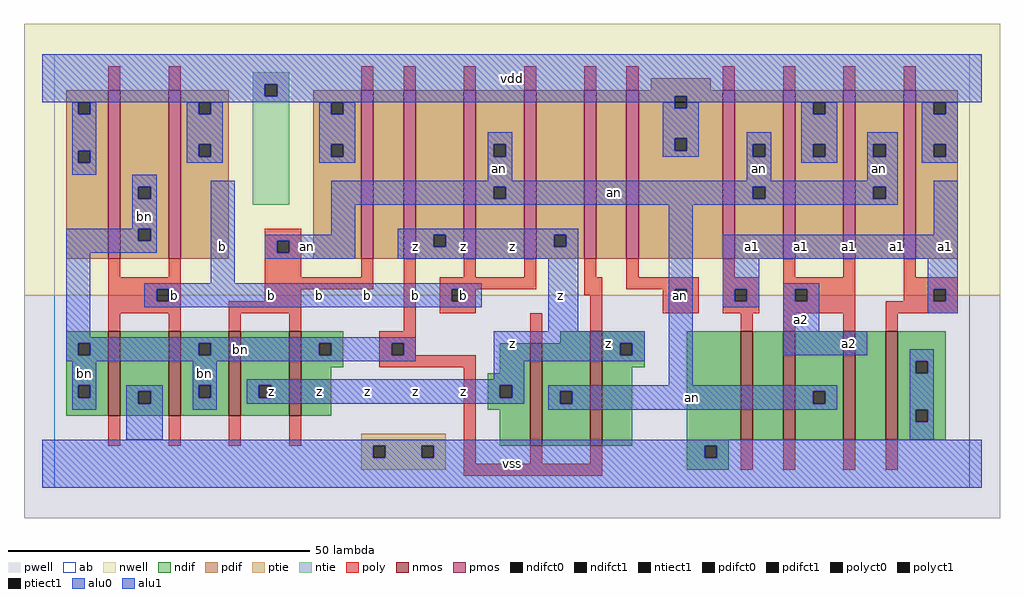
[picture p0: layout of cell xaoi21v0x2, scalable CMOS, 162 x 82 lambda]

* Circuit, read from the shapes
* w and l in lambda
.subckt xaoi21v0x2 a1 a2 an b bn vdd vss z
M1 vss b bn vss nfet w=14 l=2 m=2
M2 z an bn vss nfet w=14 l=2 m=2
M3 an bn z vss nfet w=17 l=2
M4 z bn an vss nfet w=19 l=2
M5 n1 a1 vss vss nfet w=18 l=2
M6 an a2 n1 vss nfet w=18 l=2
M7 n2 a2 an vss nfet w=18 l=2
M8 vss a1 n2 vss nfet w=18 l=2
M9 bn b vdd vdd pfet w=28 l=2 m=2
M10 n3 an vdd vdd pfet w=28 l=2
M11 z bn n3 vdd pfet w=28 l=2
M12 an b z vdd pfet w=28 l=2 m=2
M13 n4 bn z vdd pfet w=28 l=2
M14 vdd an n4 vdd pfet w=28 l=2
M15 an a1 vdd vdd pfet w=28 l=2 m=2
M16 vdd a2 an vdd pfet w=28 l=2 m=2
.ends

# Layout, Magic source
magic
tech scmos
<< ab >>
rect 0 0 152 72
<< nwell >>
rect -5 32 157 77
<< pwell >>
rect -5 -5 157 32
<< poly >>
rect 9 66 11 70
rect 19 66 21 70
rect 51 66 53 70
rect 58 66 60 70
rect 68 66 70 70
rect 78 66 80 70
rect 88 66 90 70
rect 95 66 97 70
rect 111 66 113 70
rect 121 66 123 70
rect 131 66 133 70
rect 141 66 143 70
rect 35 41 41 43
rect 35 39 37 41
rect 39 39 41 41
rect 9 35 11 38
rect 19 35 21 38
rect 9 33 21 35
rect 9 31 17 33
rect 19 31 21 33
rect 35 35 41 39
rect 51 35 53 38
rect 35 33 53 35
rect 35 31 41 33
rect 9 29 21 31
rect 9 26 11 29
rect 19 26 21 29
rect 29 29 41 31
rect 29 26 31 29
rect 39 26 41 29
rect 58 26 60 38
rect 68 35 70 38
rect 78 35 80 38
rect 64 33 80 35
rect 88 35 90 38
rect 95 35 97 38
rect 111 35 113 38
rect 121 35 123 38
rect 131 35 133 38
rect 64 31 66 33
rect 68 31 70 33
rect 88 32 91 35
rect 95 33 107 35
rect 64 29 70 31
rect 54 24 60 26
rect 79 24 81 29
rect 89 26 91 32
rect 101 31 103 33
rect 105 31 107 33
rect 101 29 107 31
rect 111 33 117 35
rect 111 31 113 33
rect 115 31 117 33
rect 111 29 117 31
rect 121 33 133 35
rect 121 31 123 33
rect 125 31 133 33
rect 141 35 143 38
rect 141 33 150 35
rect 141 31 146 33
rect 148 31 150 33
rect 121 29 133 31
rect 114 26 116 29
rect 121 26 123 29
rect 131 26 133 29
rect 138 29 150 31
rect 138 26 140 29
rect 54 22 56 24
rect 58 22 60 24
rect 54 20 70 22
rect 9 7 11 12
rect 19 7 21 12
rect 29 7 31 12
rect 39 7 41 12
rect 68 4 70 20
rect 79 4 81 7
rect 89 4 91 7
rect 68 2 91 4
rect 114 3 116 8
rect 121 3 123 8
rect 131 3 133 8
rect 138 3 140 8
<< ndif >>
rect 2 24 9 26
rect 2 22 4 24
rect 6 22 9 24
rect 2 17 9 22
rect 2 15 4 17
rect 6 15 9 17
rect 2 12 9 15
rect 11 16 19 26
rect 11 14 14 16
rect 16 14 19 16
rect 11 12 19 14
rect 21 24 29 26
rect 21 22 24 24
rect 26 22 29 24
rect 21 17 29 22
rect 21 15 24 17
rect 26 15 29 17
rect 21 12 29 15
rect 31 17 39 26
rect 31 15 34 17
rect 36 15 39 17
rect 31 12 39 15
rect 41 24 48 26
rect 41 22 44 24
rect 46 22 48 24
rect 41 20 48 22
rect 84 24 89 26
rect 41 12 46 20
rect 74 19 79 24
rect 72 17 79 19
rect 72 15 74 17
rect 76 15 79 17
rect 72 13 79 15
rect 74 7 79 13
rect 81 16 89 24
rect 81 14 84 16
rect 86 14 89 16
rect 81 7 89 14
rect 91 24 98 26
rect 91 22 94 24
rect 96 22 98 24
rect 91 20 98 22
rect 91 7 96 20
rect 105 8 114 26
rect 116 8 121 26
rect 123 16 131 26
rect 123 14 126 16
rect 128 14 131 16
rect 123 8 131 14
rect 133 8 138 26
rect 140 21 148 26
rect 140 19 143 21
rect 145 19 148 21
rect 140 13 148 19
rect 140 11 143 13
rect 145 11 148 13
rect 140 8 148 11
rect 105 7 112 8
rect 105 5 108 7
rect 110 5 112 7
rect 105 3 112 5
<< pdif >>
rect 2 64 9 66
rect 2 62 4 64
rect 6 62 9 64
rect 2 56 9 62
rect 2 54 4 56
rect 6 54 9 56
rect 2 38 9 54
rect 11 50 19 66
rect 11 48 14 50
rect 16 48 19 50
rect 11 43 19 48
rect 11 41 14 43
rect 16 41 19 43
rect 11 38 19 41
rect 21 64 29 66
rect 21 62 24 64
rect 26 62 29 64
rect 21 57 29 62
rect 21 55 24 57
rect 26 55 29 57
rect 21 38 29 55
rect 99 66 109 68
rect 43 64 51 66
rect 43 62 46 64
rect 48 62 51 64
rect 43 57 51 62
rect 43 55 46 57
rect 48 55 51 57
rect 43 38 51 55
rect 53 38 58 66
rect 60 42 68 66
rect 60 40 63 42
rect 65 40 68 42
rect 60 38 68 40
rect 70 57 78 66
rect 70 55 73 57
rect 75 55 78 57
rect 70 50 78 55
rect 70 48 73 50
rect 75 48 78 50
rect 70 38 78 48
rect 80 42 88 66
rect 80 40 83 42
rect 85 40 88 42
rect 80 38 88 40
rect 90 38 95 66
rect 97 65 111 66
rect 97 63 103 65
rect 105 63 111 65
rect 97 58 111 63
rect 97 56 103 58
rect 105 56 111 58
rect 97 38 111 56
rect 113 57 121 66
rect 113 55 116 57
rect 118 55 121 57
rect 113 50 121 55
rect 113 48 116 50
rect 118 48 121 50
rect 113 38 121 48
rect 123 64 131 66
rect 123 62 126 64
rect 128 62 131 64
rect 123 57 131 62
rect 123 55 126 57
rect 128 55 131 57
rect 123 38 131 55
rect 133 57 141 66
rect 133 55 136 57
rect 138 55 141 57
rect 133 50 141 55
rect 133 48 136 50
rect 138 48 141 50
rect 133 38 141 48
rect 143 64 150 66
rect 143 62 146 64
rect 148 62 150 64
rect 143 57 150 62
rect 143 55 146 57
rect 148 55 150 57
rect 143 38 150 55
<< alu1 >>
rect -2 67 154 72
rect -2 65 35 67
rect 37 65 154 67
rect -2 64 103 65
rect 105 64 154 65
rect 26 34 30 51
rect 57 42 87 43
rect 57 40 63 42
rect 65 40 83 42
rect 85 40 87 42
rect 57 38 87 40
rect 15 33 71 34
rect 15 31 17 33
rect 19 31 66 33
rect 68 31 71 33
rect 15 30 71 31
rect 82 26 87 38
rect 146 42 150 51
rect 73 24 98 26
rect 73 22 94 24
rect 96 22 98 24
rect 73 21 98 22
rect 73 18 78 21
rect 32 17 78 18
rect 111 38 150 42
rect 111 33 117 38
rect 111 31 113 33
rect 115 31 117 33
rect 111 30 117 31
rect 121 33 127 34
rect 121 31 123 33
rect 125 31 127 33
rect 121 26 127 31
rect 145 33 150 38
rect 145 31 146 33
rect 148 31 150 33
rect 145 29 150 31
rect 121 22 135 26
rect 32 15 34 17
rect 36 15 74 17
rect 76 15 78 17
rect 32 14 78 15
rect -2 7 154 8
rect -2 5 53 7
rect 55 5 61 7
rect 63 5 108 7
rect 110 5 154 7
rect -2 0 154 5
<< ptie >>
rect 51 7 65 9
rect 51 5 53 7
rect 55 5 61 7
rect 63 5 65 7
rect 51 3 65 5
<< ntie >>
rect 33 67 39 69
rect 33 65 35 67
rect 37 65 39 67
rect 33 47 39 65
<< nmos >>
rect 9 12 11 26
rect 19 12 21 26
rect 29 12 31 26
rect 39 12 41 26
rect 79 7 81 24
rect 89 7 91 26
rect 114 8 116 26
rect 121 8 123 26
rect 131 8 133 26
rect 138 8 140 26
<< pmos >>
rect 9 38 11 66
rect 19 38 21 66
rect 51 38 53 66
rect 58 38 60 66
rect 68 38 70 66
rect 78 38 80 66
rect 88 38 90 66
rect 95 38 97 66
rect 111 38 113 66
rect 121 38 123 66
rect 131 38 133 66
rect 141 38 143 66
<< polyct0 >>
rect 37 39 39 41
rect 103 31 105 33
rect 56 22 58 24
<< polyct1 >>
rect 17 31 19 33
rect 66 31 68 33
rect 113 31 115 33
rect 123 31 125 33
rect 146 31 148 33
<< ndifct0 >>
rect 4 22 6 24
rect 4 15 6 17
rect 14 14 16 16
rect 24 22 26 24
rect 24 15 26 17
rect 44 22 46 24
rect 84 14 86 16
rect 126 14 128 16
rect 143 19 145 21
rect 143 11 145 13
<< ndifct1 >>
rect 34 15 36 17
rect 74 15 76 17
rect 94 22 96 24
rect 108 5 110 7
<< ntiect1 >>
rect 35 65 37 67
<< ptiect1 >>
rect 53 5 55 7
rect 61 5 63 7
<< pdifct0 >>
rect 4 62 6 64
rect 4 54 6 56
rect 14 48 16 50
rect 14 41 16 43
rect 24 62 26 64
rect 24 55 26 57
rect 46 62 48 64
rect 46 55 48 57
rect 73 55 75 57
rect 73 48 75 50
rect 103 63 105 64
rect 103 56 105 58
rect 116 55 118 57
rect 116 48 118 50
rect 126 62 128 64
rect 126 55 128 57
rect 136 55 138 57
rect 136 48 138 50
rect 146 62 148 64
rect 146 55 148 57
<< pdifct1 >>
rect 63 40 65 42
rect 83 40 85 42
rect 103 64 105 65
<< alu0 >>
rect 3 62 4 64
rect 6 62 7 64
rect 3 56 7 62
rect 3 54 4 56
rect 6 54 7 56
rect 22 62 24 64
rect 26 62 28 64
rect 22 57 28 62
rect 22 55 24 57
rect 26 55 28 57
rect 22 54 28 55
rect 44 62 46 64
rect 48 62 50 64
rect 44 57 50 62
rect 101 63 103 64
rect 105 63 107 64
rect 44 55 46 57
rect 48 55 50 57
rect 44 54 50 55
rect 72 57 76 59
rect 72 55 73 57
rect 75 55 76 57
rect 101 58 107 63
rect 124 62 126 64
rect 128 62 130 64
rect 101 56 103 58
rect 105 56 107 58
rect 101 55 107 56
rect 115 57 119 59
rect 115 55 116 57
rect 118 55 119 57
rect 3 52 7 54
rect 13 50 17 52
rect 72 51 76 55
rect 115 51 119 55
rect 124 57 130 62
rect 144 62 146 64
rect 148 62 150 64
rect 124 55 126 57
rect 128 55 130 57
rect 124 54 130 55
rect 135 57 140 59
rect 135 55 136 57
rect 138 55 140 57
rect 135 51 140 55
rect 144 57 150 62
rect 144 55 146 57
rect 148 55 150 57
rect 144 54 150 55
rect 13 48 14 50
rect 16 48 17 50
rect 13 43 17 48
rect 2 41 14 43
rect 16 41 17 43
rect 2 39 17 41
rect 2 25 6 39
rect 46 50 140 51
rect 46 48 73 50
rect 75 48 116 50
rect 118 48 136 50
rect 138 48 140 50
rect 46 47 140 48
rect 46 42 50 47
rect 35 41 50 42
rect 35 39 37 41
rect 39 39 50 41
rect 35 38 50 39
rect 102 33 106 47
rect 102 31 103 33
rect 105 31 106 33
rect 2 24 60 25
rect 2 22 4 24
rect 6 22 24 24
rect 26 22 44 24
rect 46 22 56 24
rect 58 22 60 24
rect 2 21 60 22
rect 3 17 7 21
rect 23 17 27 21
rect 3 15 4 17
rect 6 15 7 17
rect 3 13 7 15
rect 12 16 18 17
rect 12 14 14 16
rect 16 14 18 16
rect 12 8 18 14
rect 23 15 24 17
rect 26 15 27 17
rect 23 13 27 15
rect 102 17 106 31
rect 142 21 146 23
rect 142 19 143 21
rect 145 19 146 21
rect 82 16 130 17
rect 82 14 84 16
rect 86 14 126 16
rect 128 14 130 16
rect 82 13 130 14
rect 142 13 146 19
rect 142 11 143 13
rect 145 11 146 13
rect 142 8 146 11
<< labels >>
rlabel alu0 25 19 25 19 6 bn
rlabel alu0 5 19 5 19 6 bn
rlabel alu0 15 45 15 45 6 bn
rlabel alu0 31 23 31 23 6 bn
rlabel alu0 42 40 42 40 6 an
rlabel polyct0 104 32 104 32 6 an
rlabel alu0 74 53 74 53 6 an
rlabel alu0 106 15 106 15 6 an
rlabel alu0 93 49 93 49 6 an
rlabel alu0 137 53 137 53 6 an
rlabel alu0 117 53 117 53 6 an
rlabel alu1 20 32 20 32 6 b
rlabel alu1 36 16 36 16 6 z
rlabel alu1 44 16 44 16 6 z
rlabel alu1 52 16 52 16 6 z
rlabel alu1 36 32 36 32 6 b
rlabel alu1 44 32 44 32 6 b
rlabel alu1 52 32 52 32 6 b
rlabel alu1 28 40 28 40 6 b
rlabel alu1 76 4 76 4 6 vss
rlabel alu1 68 16 68 16 6 z
rlabel alu1 60 16 60 16 6 z
rlabel alu1 76 24 76 24 6 z
rlabel alu1 68 32 68 32 6 b
rlabel alu1 84 32 84 32 6 z
rlabel alu1 60 32 60 32 6 b
rlabel alu1 60 40 60 40 6 z
rlabel alu1 68 40 68 40 6 z
rlabel alu1 76 40 76 40 6 z
rlabel alu1 76 68 76 68 6 vdd
rlabel alu1 92 24 92 24 6 z
rlabel alu1 116 40 116 40 6 a1
rlabel alu1 132 24 132 24 6 a2
rlabel alu1 124 28 124 28 6 a2
rlabel alu1 124 40 124 40 6 a1
rlabel alu1 148 40 148 40 6 a1
rlabel alu1 132 40 132 40 6 a1
rlabel alu1 140 40 140 40 6 a1
<< end >>
